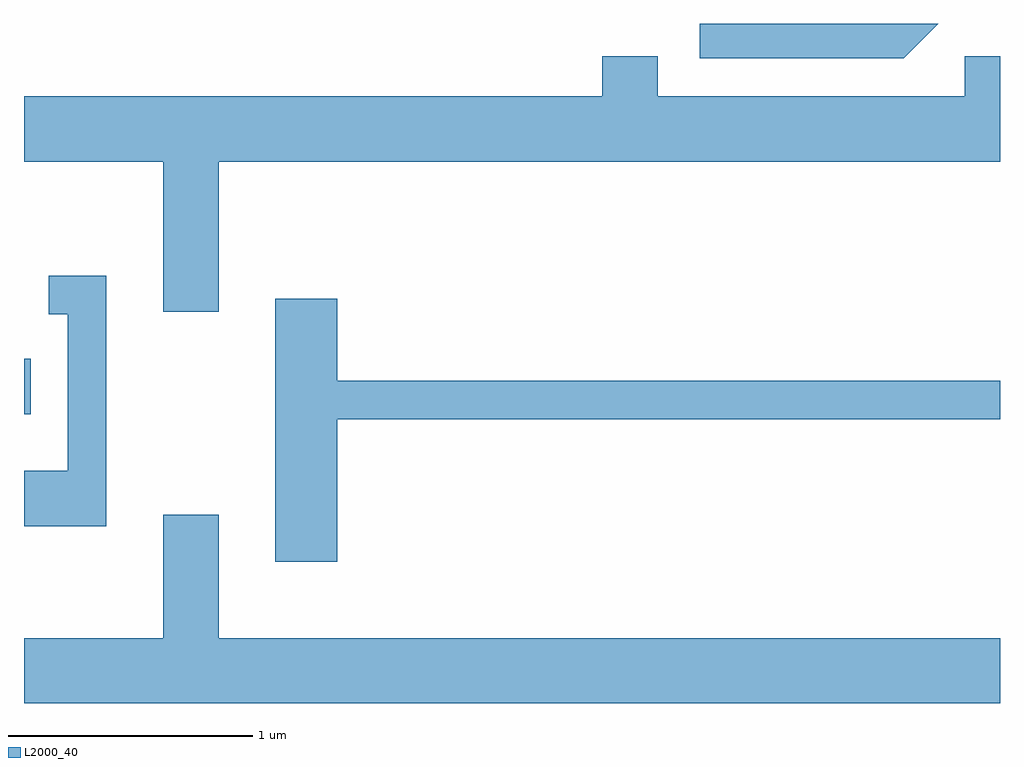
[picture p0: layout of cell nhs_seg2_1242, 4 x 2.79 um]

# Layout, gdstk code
import gdstk
lib = gdstk.Library(unit=1e-6, precision=1e-09)
def R(c, l, rs):  # rectangles x0, y0, x1, y1
    for r in rs: c.add(gdstk.rectangle(r[:2], r[2:], *l))
def P(c, l, *ps):  # polygons
    for p in ps: c.add(gdstk.Polygon(p, *l))
L2000_40 = (2000, 40)

nhs_seg2_1242 = lib.new_cell('nhs_seg2_1242')
R(nhs_seg2_1242, L2000_40, [(221.611,1016.201,221.639,1016.429)])
P(nhs_seg2_1242, L2000_40, [(225.358,1017.802),(224.381,1017.802),(224.381,1017.661),(225.217,1017.661)],
  [(222.409,1017.236),(225.611,1017.236),(225.611,1017.669),(225.466,1017.669),(225.466,1017.504),(224.209,1017.504),(224.209,1017.669),(223.981,1017.669),(223.981,1017.504),(221.611,1017.504),(221.611,1017.236),(222.181,1017.236),(222.181,1016.621),(222.409,1016.621)],
  [(221.949,1016.769),(221.713,1016.769),(221.713,1016.611),(221.791,1016.611),(221.791,1015.969),(221.611,1015.969),(221.611,1015.741),(221.949,1015.741)],
  [(222.894,1016.181),(225.611,1016.181),(225.611,1016.339),(222.894,1016.339),(222.894,1016.674),(222.641,1016.674),(222.641,1015.596),(222.894,1015.596)],
  [(225.611,1015.284),(222.409,1015.284),(222.409,1015.789),(222.181,1015.789),(222.181,1015.284),(221.611,1015.284),(221.611,1015.016),(225.611,1015.016)])

lib.write_gds('nhs_seg2_1242.gds')
